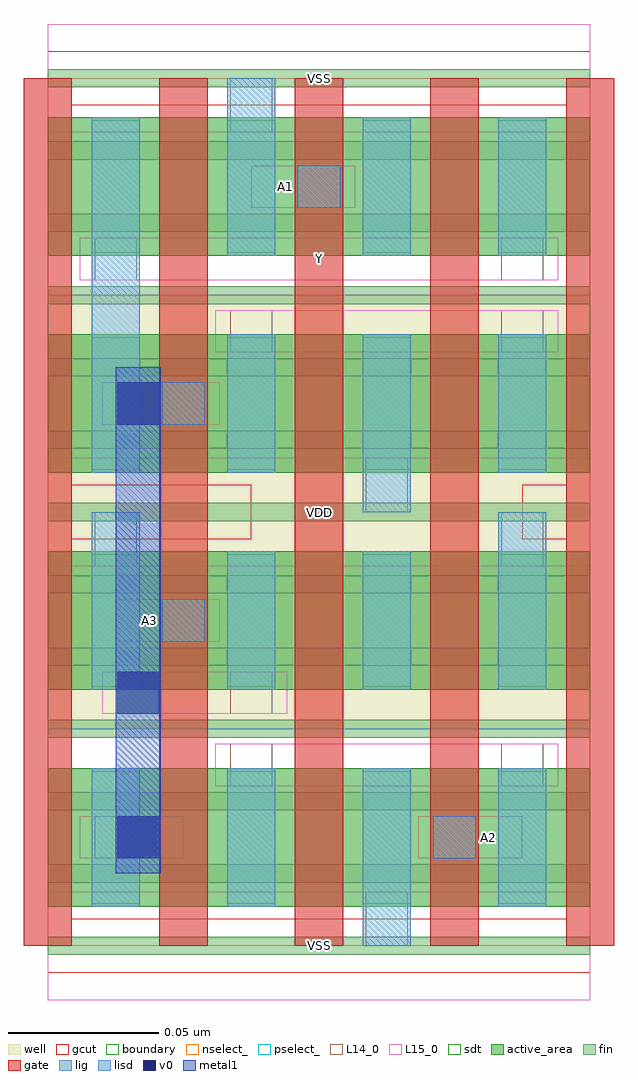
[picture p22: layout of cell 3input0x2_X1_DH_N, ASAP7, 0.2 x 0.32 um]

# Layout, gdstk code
import gdstk
lib = gdstk.Library(unit=1e-6, precision=2.5e-10)
def R(c, l, rs):  # rectangles x0, y0, x1, y1
    for r in rs: c.add(gdstk.rectangle(r[:2], r[2:], *l))
def A(c, l, x, y, w, h, nx, ny, dx, dy):  # array of equal rectangles
    R(c, l, [(x+i*dx, y+j*dy, x+i*dx+w, y+j*dy+h) for i in range(nx) for j in range(ny)])
def P(c, l, *ps):  # polygons
    for p in ps: c.add(gdstk.Polygon(p, *l))
well = (1, 0)
fin = (2, 0)
gate = (7, 0)
gcut = (10, 0)
active_area = (11, 0)
nselect_ = (12, 0)
pselect_ = (13, 0)
L14_0 = (14, 0)
L15_0 = (15, 0)
lig = (16, 0)
lisd = (17, 0)
v0 = (18, 0)
metal1 = (19, 0)
sdt = (88, 0)
boundary = (100, 0)

c_3input0x2_x1_dh_n = lib.new_cell('3input0x2_X1_DH_N')
R(c_3input0x2_x1_dh_n, well, [(0,0.072,0.18,0.144), (0,0.144,0.18,0.216)])
A(c_3input0x2_x1_dh_n, fin, 0, -0.003, 0.18, 0.006, 1, 13, 0, 0.024)
A(c_3input0x2_x1_dh_n, gate, -0.008, 0, 0.016, 0.288, 5, 1, 0.045, 0)
P(c_3input0x2_x1_dh_n, gcut, [(0,-0.009),(0,0),(-0.008,0),(-0.008,0.279),(0.008,0.279),(0.008,0.153),(0.0675,0.153),(0.0675,0.135),(0.008,0.135),(0.008,0.009),(0.172,0.009),(0.172,0.135),(0.1575,0.135),(0.1575,0.153),(0.172,0.153),(0.172,0.279),(-0.008,0.279),(-0.008,0.288),(0,0.288),(0,0.297),(0.18,0.297),(0.18,0.288),(0.188,0.288),(0.188,0),(0.18,0),(0.18,-0.009)])
A(c_3input0x2_x1_dh_n, active_area, 0, 0.013, 0.18, 0.046, 1, 4, 0, 0.072)
R(c_3input0x2_x1_dh_n, nselect_, [(0,0,0.18,0.072), (0,0.216,0.18,0.288)])
R(c_3input0x2_x1_dh_n, pselect_, [(0,0.072,0.18,0.144), (0,0.144,0.18,0.216)])
R(c_3input0x2_x1_dh_n, L14_0, [(0.1055,0,0.1195,0.018), (0.0155,0.029,0.0295,0.043), (0.128,0.029,0.142,0.043), (0.0605,0.053,0.0745,0.067), (0.1505,0.053,0.1645,0.067), (0.0605,0.077,0.0745,0.091), (0.038,0.101,0.052,0.115), (0.0155,0.126,0.0295,0.144), (0.1505,0.126,0.1645,0.144), (0.1055,0.144,0.1195,0.162), (0.038,0.173,0.052,0.187), (0.0605,0.197,0.0745,0.211), (0.1505,0.197,0.1645,0.211), (0.0155,0.221,0.0295,0.235), (0.1505,0.221,0.1645,0.235), (0.083,0.245,0.097,0.259), (0.0605,0.27,0.0745,0.288)])
A(c_3input0x2_x1_dh_n, L15_0, 0, -0.018, 0.18, 0.036, 1, 3, 0, 0.144)
R(c_3input0x2_x1_dh_n, L15_0, [(0.0105,0.029,0.045,0.043), (0.123,0.029,0.1575,0.043), (0.0555,0.053,0.1695,0.067), (0.018,0.077,0.0795,0.091), (0.0225,0.101,0.057,0.115), (0.018,0.173,0.057,0.187), (0.0555,0.197,0.1695,0.211), (0.0105,0.221,0.1695,0.235), (0.0675,0.245,0.102,0.259)])
R(c_3input0x2_x1_dh_n, lig, [(0.128,0.029,0.142,0.043), (0.038,0.101,0.052,0.115), (0.038,0.173,0.052,0.187), (0.083,0.245,0.097,0.259)])
A(c_3input0x2_x1_dh_n, lisd, 0.0595, 0.013, 0.016, 0.046, 1, 3, 0, 0.072)
R(c_3input0x2_x1_dh_n, lisd, [(0.1045,0,0.1205,0.059), (0.0145,0.013,0.0305,0.059), (0.1495,0.013,0.1655,0.059), (0.0145,0.085,0.0305,0.144), (0.1045,0.085,0.1205,0.131), (0.1495,0.085,0.1655,0.144), (0.1045,0.144,0.1205,0.203), (0.0145,0.157,0.0305,0.275), (0.1495,0.157,0.1655,0.203), (0.0595,0.229,0.0755,0.288), (0.1045,0.229,0.1205,0.275), (0.1495,0.229,0.1655,0.275)])
R(c_3input0x2_x1_dh_n, v0, [(0.023,0.029,0.037,0.043), (0.023,0.077,0.037,0.091), (0.023,0.173,0.037,0.187)])
R(c_3input0x2_x1_dh_n, metal1, [(0.0225,0.024,0.0375,0.192)])
A(c_3input0x2_x1_dh_n, sdt, 0.0145, 0.014, 0.016, 0.044, 4, 4, 0.045, 0.072)
R(c_3input0x2_x1_dh_n, boundary, [(0,0,0.18,0.288)])
c_3input0x2_x1_dh_n.add(gdstk.Label('A2', (0.1463,0.036), layer=15, texttype=251))
c_3input0x2_x1_dh_n.add(gdstk.Label('VSS', (0.09,0), layer=15, texttype=251))
c_3input0x2_x1_dh_n.add(gdstk.Label('VDD', (0.09,0.144), layer=15, texttype=251))
c_3input0x2_x1_dh_n.add(gdstk.Label('VDD', (0.09,0.144), layer=15, texttype=251))
c_3input0x2_x1_dh_n.add(gdstk.Label('VSS', (0.09,0.288), layer=15, texttype=251))
c_3input0x2_x1_dh_n.add(gdstk.Label('Y', (0.09,0.228), layer=15, texttype=251))
c_3input0x2_x1_dh_n.add(gdstk.Label('VSS', (0.09,0), layer=15, texttype=251))
c_3input0x2_x1_dh_n.add(gdstk.Label('VDD', (0.09,0.144), layer=15, texttype=251))
c_3input0x2_x1_dh_n.add(gdstk.Label('VDD', (0.09,0.144), layer=15, texttype=251))
c_3input0x2_x1_dh_n.add(gdstk.Label('VSS', (0.09,0.288), layer=15, texttype=251))
c_3input0x2_x1_dh_n.add(gdstk.Label('A1', (0.0788,0.252), layer=15, texttype=251))
c_3input0x2_x1_dh_n.add(gdstk.Label('VSS', (0.09,0), layer=15, texttype=251))
c_3input0x2_x1_dh_n.add(gdstk.Label('VDD', (0.09,0.144), layer=15, texttype=251))
c_3input0x2_x1_dh_n.add(gdstk.Label('VDD', (0.09,0.144), layer=15, texttype=251))
c_3input0x2_x1_dh_n.add(gdstk.Label('VSS', (0.09,0.288), layer=15, texttype=251))
c_3input0x2_x1_dh_n.add(gdstk.Label('A3', (0.0338,0.108), layer=15, texttype=251))
c_3input0x2_x1_dh_n.add(gdstk.Label('VSS', (0.09,0), layer=15, texttype=251))
c_3input0x2_x1_dh_n.add(gdstk.Label('VDD', (0.09,0.144), layer=15, texttype=251))
c_3input0x2_x1_dh_n.add(gdstk.Label('VDD', (0.09,0.144), layer=15, texttype=251))
c_3input0x2_x1_dh_n.add(gdstk.Label('VSS', (0.09,0.288), layer=15, texttype=251))
c_3input0x2_x1_dh_n.add(gdstk.Label('VSS', (0.09,0), layer=3, texttype=251))
c_3input0x2_x1_dh_n.add(gdstk.Label('VSS', (0.09,0.288), layer=3, texttype=251))
c_3input0x2_x1_dh_n.add(gdstk.Label('VSS', (0.09,0), layer=3, texttype=251))
c_3input0x2_x1_dh_n.add(gdstk.Label('VSS', (0.09,0.288), layer=3, texttype=251))
c_3input0x2_x1_dh_n.add(gdstk.Label('VSS', (0.09,0), layer=3, texttype=251))
c_3input0x2_x1_dh_n.add(gdstk.Label('VSS', (0.09,0.288), layer=3, texttype=251))
c_3input0x2_x1_dh_n.add(gdstk.Label('VSS', (0.09,0), layer=3, texttype=251))
c_3input0x2_x1_dh_n.add(gdstk.Label('VSS', (0.09,0.288), layer=3, texttype=251))
c_3input0x2_x1_dh_n.add(gdstk.Label('VDD', (0.09,0.144), layer=1, texttype=251))
c_3input0x2_x1_dh_n.add(gdstk.Label('VDD', (0.09,0.144), layer=1, texttype=251))
c_3input0x2_x1_dh_n.add(gdstk.Label('VDD', (0.09,0.144), layer=1, texttype=251))
c_3input0x2_x1_dh_n.add(gdstk.Label('VDD', (0.09,0.144), layer=1, texttype=251))
c_3input0x2_x1_dh_n.add(gdstk.Label('VDD', (0.09,0.144), layer=1, texttype=251))
c_3input0x2_x1_dh_n.add(gdstk.Label('VDD', (0.09,0.144), layer=1, texttype=251))
c_3input0x2_x1_dh_n.add(gdstk.Label('VDD', (0.09,0.144), layer=1, texttype=251))
c_3input0x2_x1_dh_n.add(gdstk.Label('VDD', (0.09,0.144), layer=1, texttype=251))

lib.write_gds('3input0x2_X1_DH_N.gds')
